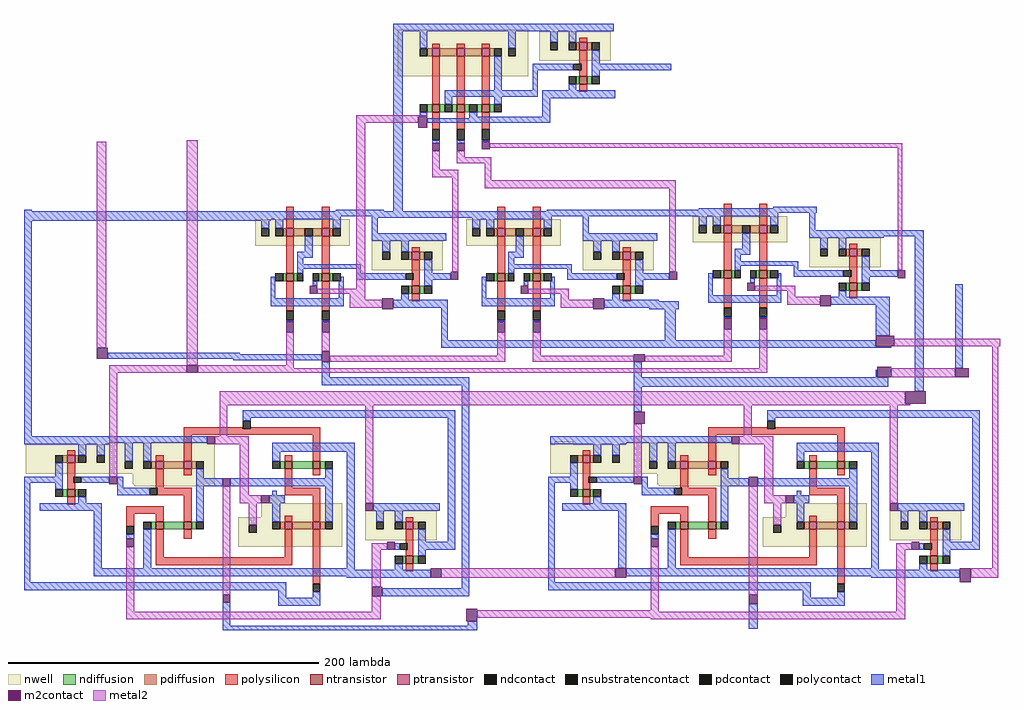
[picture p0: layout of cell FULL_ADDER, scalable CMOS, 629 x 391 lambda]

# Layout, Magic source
magic
tech scmos
<< nwell >>
rect 134 299 218 329
rect 225 309 271 328
rect 42 190 103 207
rect 117 174 163 193
rect 178 190 239 207
rect 253 174 299 193
rect 324 192 385 209
rect 399 176 445 195
rect -52 62 16 63
rect 235 62 247 64
rect 281 62 354 63
rect -106 43 16 62
rect 232 43 354 62
rect -37 36 16 43
rect 301 36 354 43
rect -36 35 16 36
rect 302 35 354 36
rect 46 24 61 29
rect 384 24 399 29
rect 46 15 98 24
rect 31 -4 98 15
rect 113 0 159 19
rect 384 15 436 24
rect 369 -4 436 15
rect 451 0 497 19
<< ntransistor >>
rect 251 294 256 299
rect 156 276 161 281
rect 172 276 177 281
rect 188 276 193 281
rect 62 167 67 172
rect 85 167 90 172
rect 198 167 203 172
rect 221 167 226 172
rect 344 169 349 174
rect 367 169 372 174
rect 143 159 148 164
rect 279 159 284 164
rect 425 161 430 166
rect 61 46 66 51
rect 79 46 84 51
rect 399 46 404 51
rect 417 46 422 51
rect -79 28 -74 33
rect 253 28 258 33
rect -22 7 -17 12
rect -4 7 1 12
rect 316 7 321 12
rect 334 7 339 12
rect 139 -15 144 -10
rect 477 -15 482 -10
<< ptransistor >>
rect 156 312 161 317
rect 172 312 177 317
rect 188 312 193 317
rect 251 316 256 321
rect 62 196 67 201
rect 85 196 90 201
rect 198 196 203 201
rect 221 196 226 201
rect 344 198 349 203
rect 367 198 372 203
rect 143 181 148 186
rect 279 181 284 186
rect 425 183 430 188
rect -79 50 -74 55
rect -22 46 -17 51
rect -4 46 1 51
rect 253 50 258 55
rect 316 46 321 51
rect 334 46 339 51
rect 61 7 66 12
rect 79 7 84 12
rect 139 7 144 12
rect 399 7 404 12
rect 417 7 422 12
rect 477 7 482 12
<< ndiffusion >>
rect 249 294 251 299
rect 256 294 259 299
rect 153 276 156 281
rect 161 276 164 281
rect 169 276 172 281
rect 177 276 180 281
rect 185 276 188 281
rect 193 276 196 281
rect 60 167 62 172
rect 67 167 69 172
rect 83 167 85 172
rect 90 167 92 172
rect 196 167 198 172
rect 203 167 205 172
rect 219 167 221 172
rect 226 167 228 172
rect 342 169 344 174
rect 349 169 351 174
rect 365 169 367 174
rect 372 169 374 174
rect 141 159 143 164
rect 148 159 151 164
rect 277 159 279 164
rect 284 159 287 164
rect 423 161 425 166
rect 430 161 433 166
rect 58 46 61 51
rect 66 46 79 51
rect 84 46 87 51
rect 396 46 399 51
rect 404 46 417 51
rect 422 46 425 51
rect -82 28 -79 33
rect -74 28 -72 33
rect 250 28 253 33
rect 258 28 260 33
rect -25 7 -22 12
rect -17 7 -4 12
rect 1 7 4 12
rect 313 7 316 12
rect 321 7 334 12
rect 339 7 342 12
rect 137 -15 139 -10
rect 144 -15 147 -10
rect 475 -15 477 -10
rect 482 -15 485 -10
<< pdiffusion >>
rect 153 312 156 317
rect 161 312 172 317
rect 177 312 188 317
rect 193 312 196 317
rect 249 316 251 321
rect 256 316 259 321
rect 60 196 62 201
rect 67 196 74 201
rect 79 196 85 201
rect 90 196 92 201
rect 196 196 198 201
rect 203 196 210 201
rect 215 196 221 201
rect 226 196 228 201
rect 342 198 344 203
rect 349 198 356 203
rect 361 198 367 203
rect 372 198 374 203
rect 141 181 143 186
rect 148 181 151 186
rect 277 181 279 186
rect 284 181 287 186
rect 423 183 425 188
rect 430 183 433 188
rect -82 50 -79 55
rect -74 50 -72 55
rect -25 46 -22 51
rect -17 46 -4 51
rect 1 46 4 51
rect 250 50 253 55
rect 258 50 260 55
rect 313 46 316 51
rect 321 46 334 51
rect 339 46 342 51
rect 58 7 61 12
rect 66 7 79 12
rect 84 7 87 12
rect 137 7 139 12
rect 144 7 147 12
rect 396 7 399 12
rect 404 7 417 12
rect 422 7 425 12
rect 475 7 477 12
rect 482 7 485 12
<< ndcontact >>
rect 244 294 249 299
rect 259 294 264 299
rect 148 276 153 281
rect 164 276 169 281
rect 180 276 185 281
rect 196 276 201 281
rect 55 167 60 172
rect 69 167 73 172
rect 79 167 83 172
rect 92 167 97 172
rect 191 167 196 172
rect 205 167 209 172
rect 215 167 219 172
rect 228 167 233 172
rect 337 169 342 174
rect 351 169 355 174
rect 361 169 365 174
rect 374 169 379 174
rect 136 159 141 164
rect 151 159 156 164
rect 272 159 277 164
rect 287 159 292 164
rect 418 161 423 166
rect 433 161 438 166
rect 53 46 58 51
rect 87 46 92 51
rect 391 46 396 51
rect 425 46 430 51
rect -87 28 -82 33
rect -72 28 -67 33
rect 245 28 250 33
rect 260 28 265 33
rect -30 7 -25 12
rect 4 7 9 12
rect 308 7 313 12
rect 342 7 347 12
rect 132 -15 137 -10
rect 147 -15 152 -10
rect 470 -15 475 -10
rect 485 -15 490 -10
<< pdcontact >>
rect 148 312 153 317
rect 196 312 201 317
rect 244 316 249 321
rect 259 316 264 321
rect 55 196 60 201
rect 74 196 79 201
rect 92 196 97 201
rect 191 196 196 201
rect 210 196 215 201
rect 228 196 233 201
rect 337 198 342 203
rect 356 198 361 203
rect 374 198 379 203
rect 136 181 141 186
rect 151 181 156 186
rect 272 181 277 186
rect 287 181 292 186
rect 418 183 423 188
rect 433 183 438 188
rect -87 50 -82 55
rect -72 50 -67 55
rect -30 46 -25 51
rect 4 46 9 51
rect 245 50 250 55
rect 260 50 265 55
rect 308 46 313 51
rect 342 46 347 51
rect 53 7 58 12
rect 87 7 92 12
rect 132 7 137 12
rect 147 7 152 12
rect 391 7 396 12
rect 425 7 430 12
rect 470 7 475 12
rect 485 7 490 12
<< nsubstratencontact >>
rect 205 312 210 317
rect 232 316 237 321
rect 46 196 51 201
rect 182 196 187 201
rect 328 198 333 203
rect 124 181 129 186
rect 260 181 265 186
rect 406 183 411 188
rect -60 50 -55 55
rect -42 46 -37 51
rect 272 50 277 55
rect 296 46 301 51
rect 38 5 43 10
rect 120 7 125 12
rect 376 5 381 10
rect 458 7 463 12
<< polysilicon >>
rect 251 321 256 324
rect 156 317 161 320
rect 172 317 177 320
rect 188 317 193 320
rect 156 281 161 312
rect 172 281 177 312
rect 188 281 193 312
rect 251 307 256 316
rect 252 303 256 307
rect 251 299 256 303
rect 251 289 256 294
rect 156 265 161 276
rect 172 265 177 276
rect 188 265 193 276
rect 62 201 67 215
rect 85 201 90 215
rect 198 201 203 215
rect 221 201 226 215
rect 344 203 349 217
rect 367 203 372 217
rect 62 172 67 196
rect 85 172 90 196
rect 143 186 148 189
rect 143 172 148 181
rect 198 172 203 196
rect 221 172 226 196
rect 279 186 284 189
rect 279 172 284 181
rect 344 174 349 198
rect 367 174 372 198
rect 425 188 430 191
rect 425 174 430 183
rect 144 168 148 172
rect 62 148 67 167
rect 85 148 90 167
rect 143 164 148 168
rect 280 168 284 172
rect 426 170 430 174
rect 143 154 148 159
rect 198 148 203 167
rect 221 148 226 167
rect 279 164 284 168
rect 279 154 284 159
rect 344 150 349 169
rect 367 150 372 169
rect 425 166 430 170
rect 425 156 430 161
rect -4 72 34 73
rect 39 72 84 73
rect -4 68 84 72
rect -79 55 -74 58
rect -22 51 -17 55
rect -4 51 1 68
rect 61 51 66 55
rect 79 51 84 68
rect 334 72 372 73
rect 377 72 422 73
rect 334 68 422 72
rect 253 55 258 58
rect -79 41 -74 50
rect 316 51 321 55
rect 334 51 339 68
rect 399 51 404 55
rect 417 51 422 68
rect -79 37 -75 41
rect -79 33 -74 37
rect -22 34 -17 46
rect -4 42 1 46
rect 61 34 66 46
rect 79 42 84 46
rect 253 41 258 50
rect 253 37 257 41
rect -21 29 1 34
rect 61 29 84 34
rect 253 33 258 37
rect 316 34 321 46
rect 334 42 339 46
rect 399 34 404 46
rect 417 42 422 46
rect -79 23 -74 28
rect -41 17 -17 22
rect -41 9 -36 17
rect -22 12 -17 17
rect -4 12 1 29
rect 61 12 66 16
rect 79 12 84 29
rect 317 29 339 34
rect 399 29 422 34
rect 253 23 258 28
rect 297 17 321 22
rect 139 12 144 15
rect -22 -11 -17 7
rect -4 1 1 7
rect 297 9 302 17
rect 316 12 321 17
rect 334 12 339 29
rect 399 12 404 16
rect 417 12 422 29
rect 477 12 482 15
rect 61 -11 66 7
rect -22 -16 66 -11
rect 79 -28 84 7
rect 139 -2 144 7
rect 140 -6 144 -2
rect 139 -10 144 -6
rect 316 -11 321 7
rect 334 1 339 7
rect 399 -11 404 7
rect 139 -20 144 -15
rect 316 -16 404 -11
rect 417 -28 422 7
rect 477 -2 482 7
rect 478 -6 482 -2
rect 477 -10 482 -6
rect 477 -20 482 -15
<< polycontact >>
rect 247 303 252 307
rect 156 258 161 265
rect 172 258 177 265
rect 188 258 193 265
rect 139 168 144 172
rect 62 142 67 148
rect 275 168 280 172
rect 421 170 426 174
rect 85 142 90 148
rect 198 142 203 148
rect 221 142 226 148
rect 344 144 349 150
rect 367 144 372 150
rect 34 72 39 77
rect 372 72 377 77
rect -75 37 -70 41
rect 257 37 262 41
rect -26 29 -21 34
rect 312 29 317 34
rect -41 4 -36 9
rect 297 4 302 9
rect 135 -6 140 -2
rect 79 -33 84 -28
rect 473 -6 478 -2
rect 417 -33 422 -28
<< metal1 >>
rect 131 328 273 333
rect -107 212 -102 213
rect 94 212 125 213
rect 131 212 137 328
rect 148 317 153 328
rect 205 317 210 328
rect 232 321 237 328
rect 244 321 249 328
rect 196 290 201 312
rect 259 307 264 316
rect 221 303 247 307
rect 259 303 310 307
rect 221 290 224 303
rect 259 299 264 303
rect 244 290 249 294
rect 164 286 224 290
rect 164 281 169 286
rect 196 281 201 286
rect 227 285 274 290
rect 148 273 153 276
rect 180 273 185 276
rect 227 273 232 285
rect 180 272 232 273
rect 153 269 232 272
rect 156 256 161 258
rect 172 256 177 258
rect 188 257 193 258
rect 376 214 404 215
rect 328 213 404 214
rect 230 212 404 213
rect -107 211 404 212
rect -107 209 379 211
rect -107 207 97 209
rect -107 206 52 207
rect -107 67 -102 206
rect 46 201 51 206
rect 55 201 60 207
rect 92 201 97 207
rect 117 208 233 209
rect 117 198 121 208
rect 182 207 233 208
rect 182 201 187 207
rect 74 186 79 196
rect 117 193 165 198
rect 191 201 196 207
rect 228 201 233 207
rect 253 198 257 209
rect 328 203 333 209
rect 337 203 342 209
rect 374 203 379 209
rect 399 200 403 211
rect 69 182 79 186
rect 124 186 129 193
rect 69 178 73 182
rect 136 186 141 193
rect 210 186 215 196
rect 253 193 301 198
rect 69 175 110 178
rect 69 172 73 175
rect 107 172 110 175
rect 151 172 156 181
rect 205 182 215 186
rect 260 186 265 193
rect 205 178 209 182
rect 272 186 277 193
rect 356 188 361 198
rect 399 196 473 200
rect 399 195 447 196
rect 205 175 246 178
rect 52 156 55 170
rect 97 167 99 170
rect 107 168 139 172
rect 151 168 168 172
rect 205 172 209 175
rect 243 172 246 175
rect 287 172 292 181
rect 351 184 361 188
rect 406 188 411 195
rect 351 180 355 184
rect 418 188 423 195
rect 351 177 392 180
rect 351 174 355 177
rect 389 174 392 177
rect 433 174 438 183
rect 79 164 82 167
rect 96 156 99 167
rect 151 164 156 168
rect 52 151 99 156
rect 136 155 141 159
rect 188 156 191 170
rect 233 167 235 170
rect 243 168 275 172
rect 287 168 309 172
rect 215 164 218 167
rect 232 156 235 167
rect 287 164 292 168
rect 131 150 166 155
rect 188 151 235 156
rect 62 141 67 142
rect 85 141 90 142
rect 162 129 166 150
rect 272 155 277 159
rect 334 158 337 172
rect 379 169 381 172
rect 389 170 421 174
rect 433 170 456 174
rect 361 166 364 169
rect 378 158 381 169
rect 433 166 438 170
rect 267 154 302 155
rect 267 150 315 154
rect 334 153 381 158
rect 418 157 423 161
rect 413 152 451 157
rect 296 149 315 150
rect 198 141 203 142
rect 221 141 226 142
rect 306 129 313 149
rect 344 143 349 144
rect 367 143 372 144
rect 442 132 451 152
rect 162 125 442 129
rect 162 124 452 125
rect -53 120 32 121
rect -53 117 85 120
rect 28 116 85 117
rect 85 105 90 115
rect 286 105 291 115
rect 442 105 443 110
rect 85 100 180 105
rect 34 79 171 84
rect 34 77 39 79
rect -107 63 11 67
rect -107 62 -52 63
rect -72 55 -67 62
rect -60 55 -55 62
rect -42 51 -37 63
rect -87 41 -82 50
rect -30 51 -25 63
rect 53 57 106 63
rect 53 51 58 57
rect -107 37 -82 41
rect -70 37 -52 41
rect -107 -27 -103 37
rect -87 33 -82 37
rect -47 34 -43 41
rect 4 40 9 46
rect 87 40 92 46
rect 4 35 21 40
rect 26 35 92 40
rect -47 29 -26 34
rect -72 24 -67 28
rect -97 19 -57 24
rect -62 -18 -57 19
rect 4 12 9 35
rect 53 29 56 32
rect 51 24 61 29
rect -41 1 -36 4
rect 53 12 58 24
rect -30 -18 -25 7
rect 87 12 92 35
rect 101 -18 106 57
rect 118 19 161 24
rect 120 12 125 19
rect 132 12 137 19
rect 147 -1 152 7
rect 166 -1 171 79
rect 132 -6 135 -2
rect 147 -6 171 -1
rect 147 -10 152 -6
rect -62 -19 106 -18
rect 132 -19 137 -15
rect -62 -23 155 -19
rect 101 -24 155 -23
rect -107 -32 62 -27
rect 21 -55 26 -40
rect 57 -37 62 -32
rect 79 -37 84 -33
rect 175 -31 180 100
rect 286 99 450 105
rect 286 83 291 99
rect 467 96 473 196
rect 493 111 498 165
rect 372 79 509 84
rect 372 77 377 79
rect 232 63 349 67
rect 232 62 281 63
rect 260 55 265 62
rect 272 55 277 62
rect 296 51 301 63
rect 245 41 250 50
rect 308 51 313 63
rect 391 57 444 63
rect 391 51 396 57
rect 124 -36 180 -31
rect 231 37 250 41
rect 262 37 286 41
rect 231 -27 235 37
rect 245 33 250 37
rect 291 34 295 41
rect 342 40 347 46
rect 342 35 360 40
rect 425 40 430 46
rect 366 35 430 40
rect 291 29 312 34
rect 260 24 265 28
rect 240 19 281 24
rect 276 -18 281 19
rect 342 12 347 35
rect 391 29 394 32
rect 389 24 399 29
rect 297 1 302 4
rect 391 12 396 24
rect 308 -18 313 7
rect 425 12 430 35
rect 439 -18 444 57
rect 456 19 499 24
rect 458 12 463 19
rect 470 12 475 19
rect 485 -1 490 7
rect 504 -1 509 79
rect 470 -6 473 -2
rect 485 -6 509 -1
rect 485 -10 490 -6
rect 281 -19 444 -18
rect 470 -19 475 -15
rect 281 -23 496 -19
rect 439 -24 496 -23
rect 231 -32 400 -27
rect 57 -42 84 -37
rect 179 -55 185 -52
rect 21 -58 185 -55
rect 360 -57 366 -41
rect 395 -37 400 -32
rect 417 -37 422 -33
rect 395 -42 422 -37
<< m2contact >>
rect 147 266 153 273
rect 156 251 161 256
rect 172 251 177 256
rect 188 252 193 257
rect 168 168 173 173
rect 77 159 82 164
rect 124 149 131 156
rect 309 168 314 173
rect 213 159 218 164
rect 62 134 67 141
rect 85 134 90 141
rect 260 149 267 156
rect 359 161 364 166
rect 456 169 461 174
rect 406 151 413 158
rect 198 134 203 141
rect 221 134 226 141
rect 344 136 349 143
rect 367 136 372 143
rect 442 125 454 132
rect -60 117 -53 124
rect 85 115 90 122
rect -2 108 5 113
rect 286 115 293 120
rect 443 105 452 112
rect 11 62 16 67
rect -52 36 -47 41
rect 21 35 26 40
rect 46 24 51 29
rect -41 -4 -36 1
rect 113 19 118 24
rect 127 -6 132 -1
rect 155 -24 162 -18
rect 21 -40 26 -35
rect 117 -36 124 -30
rect 493 105 502 111
rect 461 88 474 96
rect 286 75 293 83
rect 349 62 354 67
rect 286 36 291 41
rect 360 35 366 41
rect 384 24 389 29
rect 297 -4 302 1
rect 451 19 456 24
rect 465 -6 470 -1
rect 274 -24 281 -18
rect 496 -27 503 -18
rect 360 -41 366 -35
rect 178 -52 185 -44
<< metal2 >>
rect 107 273 153 274
rect 107 269 147 273
rect -60 124 -54 257
rect -2 113 5 258
rect 107 162 113 269
rect 156 239 161 251
rect 193 253 459 256
rect 172 247 177 251
rect 172 243 194 247
rect 156 234 173 239
rect 169 173 173 234
rect 190 232 194 243
rect 190 227 313 232
rect 309 173 313 227
rect 456 174 459 253
rect 82 159 113 162
rect 218 159 244 162
rect 364 161 390 164
rect 103 155 113 159
rect 103 150 124 155
rect 239 155 244 159
rect 385 157 390 161
rect 239 150 260 155
rect 385 152 406 157
rect 62 113 67 134
rect 85 122 90 134
rect 198 119 203 134
rect 90 115 203 119
rect 221 119 226 134
rect 221 115 286 119
rect 344 119 349 136
rect 293 115 349 119
rect -52 108 -2 113
rect 5 111 67 113
rect 367 111 372 136
rect 454 125 522 130
rect 5 108 372 111
rect -52 41 -47 108
rect 452 105 493 111
rect 19 88 461 96
rect 19 87 464 88
rect 19 67 24 87
rect 16 62 38 67
rect -41 -46 -36 -4
rect 21 -35 26 35
rect 32 29 38 62
rect 32 24 46 29
rect 113 24 118 87
rect 286 41 291 75
rect 357 67 362 87
rect 354 62 376 67
rect 38 10 43 24
rect 117 -6 127 -2
rect 117 -30 123 -6
rect 162 -24 274 -18
rect 117 -46 123 -36
rect -41 -51 123 -46
rect 297 -45 302 -4
rect 360 -35 366 35
rect 370 29 376 62
rect 370 24 384 29
rect 451 24 456 87
rect 376 10 381 24
rect 455 -6 465 -2
rect 185 -46 302 -45
rect 455 -46 461 -6
rect 517 -18 521 125
rect 503 -24 521 -18
rect 185 -50 461 -46
rect 297 -51 461 -50
<< end >>
